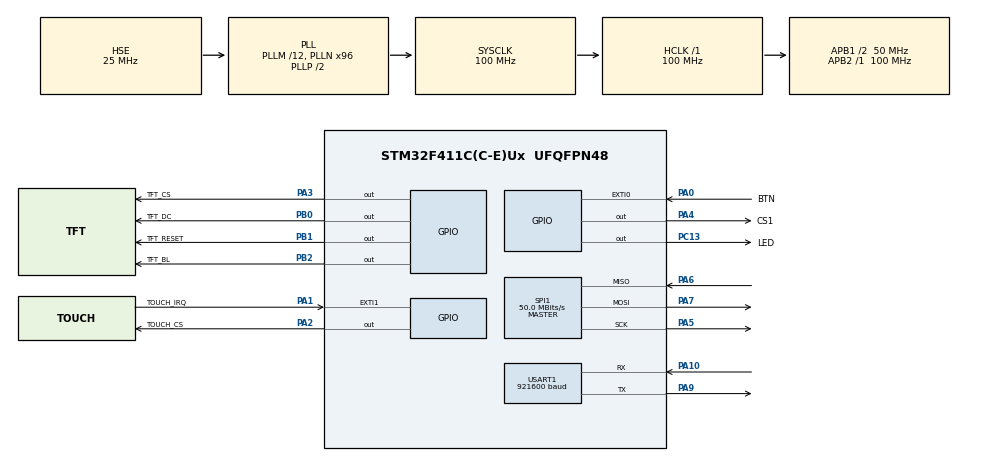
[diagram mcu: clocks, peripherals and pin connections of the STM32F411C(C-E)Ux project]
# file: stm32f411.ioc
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Dma.Request0=SPI1_TX
Dma.Request1=SPI1_RX
Dma.SPI1_RX.1.Direction=DMA_PERIPH_TO_MEMORY
Dma.SPI1_RX.1.FIFOMode=DMA_FIFOMODE_DISABLE
Dma.SPI1_RX.1.Instance=DMA2_Stream0
Dma.SPI1_RX.1.MemDataAlignment=DMA_MDATAALIGN_BYTE
Dma.SPI1_RX.1.MemInc=DMA_MINC_ENABLE
Dma.SPI1_RX.1.Mode=DMA_NORMAL
Dma.SPI1_RX.1.PeriphDataAlignment=DMA_PDATAALIGN_BYTE
Dma.SPI1_RX.1.PeriphInc=DMA_PINC_DISABLE
Dma.SPI1_RX.1.Priority=DMA_PRIORITY_LOW
Dma.SPI1_TX.0.Direction=DMA_MEMORY_TO_PERIPH
Dma.SPI1_TX.0.FIFOMode=DMA_FIFOMODE_DISABLE
Dma.SPI1_TX.0.Instance=DMA2_Stream2
Dma.SPI1_TX.0.MemDataAlignment=DMA_MDATAALIGN_BYTE
Dma.SPI1_TX.0.MemInc=DMA_MINC_ENABLE
Dma.SPI1_TX.0.Mode=DMA_NORMAL
Dma.SPI1_TX.0.PeriphDataAlignment=DMA_PDATAALIGN_BYTE
Dma.SPI1_TX.0.PeriphInc=DMA_PINC_DISABLE
Dma.SPI1_TX.0.Priority=DMA_PRIORITY_LOW
Mcu.Family=STM32F4
Mcu.Name=STM32F411C(C-E)Ux
Mcu.Package=UFQFPN48
NVIC.DMA2_Stream0_IRQn=true\:0\:0\:false\:false\:true\:false\:true\:true
NVIC.DMA2_Stream2_IRQn=true\:0\:0\:false\:false\:true\:false\:true\:true
NVIC.EXTI0_IRQn=true\:0\:0\:false\:false\:true\:true\:true\:true
NVIC.EXTI1_IRQn=true\:0\:0\:false\:false\:true\:true\:true\:true
NVIC.PriorityGroup=NVIC_PRIORITYGROUP_4
PA0-WKUP.GPIO_Label=BTN
PA0-WKUP.GPIO_ModeDefaultEXTI=GPIO_MODE_IT_RISING
PA0-WKUP.GPIO_PuPd=GPIO_PULLUP
PA0-WKUP.Signal=GPXTI0
PA1.GPIO_Label=TOUCH_IRQ
PA1.GPIO_ModeDefaultEXTI=GPIO_MODE_IT_RISING_FALLING
PA1.GPIO_PuPd=GPIO_PULLUP
PA1.Signal=GPXTI1
PA10.Mode=Asynchronous
PA10.Signal=USART1_RX
PA13.Mode=Serial_Wire
PA13.Signal=SYS_JTMS-SWDIO
PA14.Mode=Serial_Wire
PA14.Signal=SYS_JTCK-SWCLK
PA2.GPIO_Label=TOUCH_CS
PA2.PinState=GPIO_PIN_SET
PA2.Signal=GPIO_Output
PA3.GPIO_Label=TFT_CS
PA3.PinState=GPIO_PIN_SET
PA3.Signal=GPIO_Output
PA4.GPIO_Label=CS1
PA4.PinState=GPIO_PIN_SET
PA4.Signal=GPIO_Output
PA5.Mode=Full_Duplex_Master
PA5.Signal=SPI1_SCK
PA6.Mode=Full_Duplex_Master
PA6.Signal=SPI1_MISO
PA7.Mode=Full_Duplex_Master
PA7.Signal=SPI1_MOSI
PA9.Mode=Asynchronous
PA9.Signal=USART1_TX
PB0.GPIO_Label=TFT_DC
PB0.Signal=GPIO_Output
PB1.GPIO_Label=TFT_RESET
PB1.Signal=GPIO_Output
PB2.GPIO_Label=TFT_BL
PB2.PinState=GPIO_PIN_RESET
PB2.Signal=GPIO_Output
PC13-ANTI_TAMP.GPIO_Label=LED
PC13-ANTI_TAMP.GPIO_ModeDefaultOutputPP=GPIO_MODE_OUTPUT_OD
PC13-ANTI_TAMP.GPIO_PuPd=GPIO_NOPULL
PC13-ANTI_TAMP.PinState=GPIO_PIN_SET
PC13-ANTI_TAMP.Signal=GPIO_Output
PH0\ -\ OSC_IN.Mode=HSE-External-Oscillator
PH0\ -\ OSC_IN.Signal=RCC_OSC_IN
PH1\ -\ OSC_OUT.Mode=HSE-External-Oscillator
PH1\ -\ OSC_OUT.Signal=RCC_OSC_OUT
ProjectManager.HeapSize=0x200
ProjectManager.StackSize=0x400
ProjectManager.TargetToolchain=STM32CubeIDE
RCC.48MHZClocksFreq_Value=50000000
RCC.AHBFreq_Value=100000000
RCC.APB1CLKDivider=RCC_HCLK_DIV2
RCC.APB1Freq_Value=50000000
RCC.APB1TimFreq_Value=100000000
RCC.APB2Freq_Value=100000000
RCC.APB2TimFreq_Value=100000000
RCC.CortexFreq_Value=100000000
RCC.HCLKFreq_Value=100000000
RCC.HSE_VALUE=25000000
RCC.HSI_VALUE=16000000
RCC.LSE_VALUE=32768
RCC.PLLM=12
RCC.PLLN=96
RCC.PLLSourceVirtual=RCC_PLLSOURCE_HSE
RCC.SYSCLKFreq_VALUE=100000000
RCC.SYSCLKSource=RCC_SYSCLKSOURCE_PLLCLK
RCC.VCOOutputFreq_Value=200000000
SPI1.BaudRatePrescaler=SPI_BAUDRATEPRESCALER_2
SPI1.CalculateBaudRate=50.0 MBits/s
SPI1.Direction=SPI_DIRECTION_2LINES
SPI1.Mode=SPI_MODE_MASTER
SPI1.VirtualType=VM_MASTER
USART1.BaudRate=921600
USART1.VirtualMode=VM_ASYNC
board=custom

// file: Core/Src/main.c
/* USER CODE BEGIN Header */
/**
 ******************************************************************************
 * @file           : main.c
 * @brief          : Main program body
 ******************************************************************************
 * @attention
 *
 * Copyright (c) 2023 STMicroelectronics.
 * All rights reserved.
 *
 * This software is licensed under terms that can be found in the LICENSE file
 * in the root directory of this software component.
 * If no LICENSE file comes with this software, it is provided AS-IS.
 *
 ******************************************************************************
 */
/* USER CODE END Header */
#include "main.h"

/* USER CODE BEGIN Includes */
#include <stdlib.h>
#include <stdio.h>
#include <string.h>
#include "ili9341.h"
#include "ili9341_gfx.h"
/* USER CODE END Includes */

/* USER CODE BEGIN PD */
#define DEMOS 5
/* USER CODE END PD */

SPI_HandleTypeDef hspi1;
DMA_HandleTypeDef hdma_spi1_tx;
DMA_HandleTypeDef hdma_spi1_rx;

UART_HandleTypeDef huart1;

/* USER CODE BEGIN PV */

ili9341_t *_screen;

uint8_t blank = 1;
uint8_t demo = 0;

/* USER CODE END PV */

void SystemClock_Config(void);
static void MX_GPIO_Init(void);
static void MX_DMA_Init(void);
static void MX_SPI1_Init(void);
static void MX_USART1_UART_Init(void);

/* USER CODE BEGIN 0 */

void next_demo() {
    ++demo;
    if (demo >= DEMOS)
        demo = 0;
    blank = 1;
}

// Send printf to uart1
int _write(int fd, char *ptr, int len) {
    HAL_StatusTypeDef hstatus;

    if (fd == 1 || fd == 2) {
        hstatus = HAL_UART_Transmit(&huart1, (uint8_t*) ptr, len,
        HAL_MAX_DELAY);
        if (hstatus == HAL_OK)
            return len;
        else
            return -1;
    }
    return -1;
}

void HAL_GPIO_EXTI_Callback(uint16_t GPIO_Pin) {
    switch (GPIO_Pin) {
    case TOUCH_IRQ_Pin:
        //DBG("Touch");
        ili9341_touch_interrupt(_screen);
        break;

    case BTN_Pin:
        DBG("Button");
        next_demo();
        break;

    default:
        DBG("Idiot!");
        break;
    }
}

ili9341_t* screen(void) {
    return _screen;
}

void screenTouchBegin(ili9341_t *lcd, uint16_t x, uint16_t y) {
    DBG("Touch begin x = %d y = %d", x, y);
}

void screenTouchEnd(ili9341_t *lcd, uint16_t x, uint16_t y) {
    DBG("Touch end x = %d y = %d", x, y);
    next_demo();
}

/* USER CODE END 0 */

int main(void) {

    /* MCU Configuration--------------------------------------------------------*/

    /* Reset of all peripherals, Initializes the Flash interface and the Systick. */
    HAL_Init();

    /* Configure the system clock */
    SystemClock_Config();

    /* Initialize all configured peripherals */
    MX_GPIO_Init();
    MX_DMA_Init();
    MX_SPI1_Init();
    MX_USART1_UART_Init();
    /* USER CODE BEGIN 2 */

    DBG("\n\n\n--------\nStarting");

    _screen = ili9341_new(&hspi1,
    TFT_RESET_GPIO_Port, TFT_RESET_Pin,
    TFT_CS_GPIO_Port, TFT_CS_Pin,
    TFT_DC_GPIO_Port, TFT_DC_Pin, isoLandscape,
    TOUCH_CS_GPIO_Port, TOUCH_CS_Pin,
    TOUCH_IRQ_GPIO_Port, TOUCH_IRQ_Pin, itsSupported, itnNormalized);

    ili9341_set_touch_pressed_begin(_screen, screenTouchBegin);
    ili9341_set_touch_pressed_end(_screen, screenTouchEnd);

    ili9341_fill_screen(_screen, ILI_BLACK);

    HAL_GPIO_WritePin(GPIOB, TFT_DC_Pin | TFT_RESET_Pin | TFT_BL_Pin, GPIO_PIN_SET);

    /* USER CODE END 2 */

    /* Infinite loop */
    /* USER CODE BEGIN WHILE */

    uint32_t now = 0, last_blink = 0, last_demo = 0;

    int x, y, w, h, c, r;

    while (1) {

        now = HAL_GetTick();

        if (now - last_demo >= 100) {

            if (blank) {
                ili9341_fill_screen(_screen, ILI_BLACK);
                blank = 0;
            }

            switch (demo) {

            case 0:
                x = rand() % 320;
                y = rand() % 240;
                w = rand() % (320 - x);
                h = rand() % (240 - y);
                c = rand() % 0xffff;
                ili9341_draw_rect(_screen, c, x, y, w, h);
                break;

            case 1:
                x = rand() % 320;
                y = rand() % 240;
                w = rand() % (320 - x);
                h = rand() % (240 - y);
                c = rand() % 0xffff;
                ili9341_fill_rect(_screen, c, x, y, w, h);
                break;

            case 2:
//                x = (rand() % 220) + 50;
//                y = (rand() % 140) + 50;
//                r = (rand() % 50);
//                c = rand() % 0xffff;

                x = (rand() % 320);
                y = (rand() % 240);
                r = (rand() % 50);
                c = rand() % 0xffff;

                ili9341_draw_circle(_screen, c, x, y, r);

                break;

            case 3:
                x = (rand() % 320);
                y = (rand() % 240);
                r = (rand() % 50);
                c = rand() % 0xffff;

                ili9341_fill_circle(_screen, c, x, y, r);

                break;

            case 4:

                ili9341_text_attr_t attr;
                char str[64];

                attr.font = &ili9341_font_16x26;
                attr.bg_color = 0x0000;
                attr.fg_color = ILI_WHITE;
                attr.origin_x = 0;
                attr.origin_y = 0;

                sprintf(str, "Tick = %lu", now / 100);

                ili9341_draw_string(_screen, attr, str);
                break;

            default:

            }

            last_demo = now;
        }

        if (now - last_blink >= 500) {

            HAL_GPIO_TogglePin(LED_GPIO_Port, LED_Pin);

            last_blink = now;
        }

        /* USER CODE END WHILE */

    }
}

void SystemClock_Config(void) {
    RCC_OscInitTypeDef RCC_OscInitStruct = { 0 };
    RCC_ClkInitTypeDef RCC_ClkInitStruct = { 0 };

    /** Configure the main internal regulator output voltage
     */
    __HAL_RCC_PWR_CLK_ENABLE();
    __HAL_PWR_VOLTAGESCALING_CONFIG(PWR_REGULATOR_VOLTAGE_SCALE1);

    /** Initializes the RCC Oscillators according to the specified parameters
     * in the RCC_OscInitTypeDef structure.
     */
    RCC_OscInitStruct.OscillatorType = RCC_OSCILLATORTYPE_HSE;
    RCC_OscInitStruct.HSEState = RCC_HSE_ON;
    RCC_OscInitStruct.PLL.PLLState = RCC_PLL_ON;
    RCC_OscInitStruct.PLL.PLLSource = RCC_PLLSOURCE_HSE;
    RCC_OscInitStruct.PLL.PLLM = 12;
    RCC_OscInitStruct.PLL.PLLN = 96;
    RCC_OscInitStruct.PLL.PLLP = RCC_PLLP_DIV2;
    RCC_OscInitStruct.PLL.PLLQ = 4;
    if (HAL_RCC_OscConfig(&RCC_OscInitStruct) != HAL_OK) {
        Error_Handler();
    }

    /** Initializes the CPU, AHB and APB buses clocks
     */
    RCC_ClkInitStruct.ClockType = RCC_CLOCKTYPE_HCLK | RCC_CLOCKTYPE_SYSCLK | RCC_CLOCKTYPE_PCLK1 | RCC_CLOCKTYPE_PCLK2;
    RCC_ClkInitStruct.SYSCLKSource = RCC_SYSCLKSOURCE_PLLCLK;
    RCC_ClkInitStruct.AHBCLKDivider = RCC_SYSCLK_DIV1;
    RCC_ClkInitStruct.APB1CLKDivider = RCC_HCLK_DIV2;
    RCC_ClkInitStruct.APB2CLKDivider = RCC_HCLK_DIV1;

    if (HAL_RCC_ClockConfig(&RCC_ClkInitStruct, FLASH_LATENCY_3) != HAL_OK) {
        Error_Handler();
    }
}

static void MX_SPI1_Init(void) {

    /* SPI1 parameter configuration*/
    hspi1.Instance = SPI1;
    hspi1.Init.Mode = SPI_MODE_MASTER;
    hspi1.Init.Direction = SPI_DIRECTION_2LINES;
    hspi1.Init.DataSize = SPI_DATASIZE_8BIT;
    hspi1.Init.CLKPolarity = SPI_POLARITY_LOW;
    hspi1.Init.CLKPhase = SPI_PHASE_1EDGE;
    hspi1.Init.NSS = SPI_NSS_SOFT;
    hspi1.Init.BaudRatePrescaler = SPI_BAUDRATEPRESCALER_2;
    hspi1.Init.FirstBit = SPI_FIRSTBIT_MSB;
    hspi1.Init.TIMode = SPI_TIMODE_DISABLE;
    hspi1.Init.CRCCalculation = SPI_CRCCALCULATION_DISABLE;
    hspi1.Init.CRCPolynomial = 10;
    if (HAL_SPI_Init(&hspi1) != HAL_OK) {
        Error_Handler();
    }

}

static void MX_USART1_UART_Init(void) {

    huart1.Instance = USART1;
    huart1.Init.BaudRate = 921600;
    huart1.Init.WordLength = UART_WORDLENGTH_8B;
    huart1.Init.StopBits = UART_STOPBITS_1;
    huart1.Init.Parity = UART_PARITY_NONE;
    huart1.Init.Mode = UART_MODE_TX_RX;
    huart1.Init.HwFlowCtl = UART_HWCONTROL_NONE;
    huart1.Init.OverSampling = UART_OVERSAMPLING_16;
    if (HAL_UART_Init(&huart1) != HAL_OK) {
        Error_Handler();
    }

}

static void MX_DMA_Init(void) {

    /* DMA controller clock enable */
    __HAL_RCC_DMA2_CLK_ENABLE();

    /* DMA interrupt init */
    /* DMA2_Stream0_IRQn interrupt configuration */
    HAL_NVIC_SetPriority(DMA2_Stream0_IRQn, 0, 0);
    HAL_NVIC_EnableIRQ(DMA2_Stream0_IRQn);
    /* DMA2_Stream2_IRQn interrupt configuration */
    HAL_NVIC_SetPriority(DMA2_Stream2_IRQn, 0, 0);
    HAL_NVIC_EnableIRQ(DMA2_Stream2_IRQn);

}

static void MX_GPIO_Init(void) {
    GPIO_InitTypeDef GPIO_InitStruct = { 0 };

    /* GPIO Ports Clock Enable */
    __HAL_RCC_GPIOC_CLK_ENABLE();
    __HAL_RCC_GPIOH_CLK_ENABLE();
    __HAL_RCC_GPIOA_CLK_ENABLE();
    __HAL_RCC_GPIOB_CLK_ENABLE();

    /*Configure GPIO pin Output Level */
    HAL_GPIO_WritePin(LED_GPIO_Port, LED_Pin, GPIO_PIN_SET);

    /*Configure GPIO pin Output Level */
    HAL_GPIO_WritePin(GPIOA, TOUCH_CS_Pin | TFT_CS_Pin | CS1_Pin, GPIO_PIN_SET);

    /*Configure GPIO pin Output Level */
    HAL_GPIO_WritePin(GPIOB, TFT_DC_Pin | TFT_RESET_Pin | TFT_BL_Pin, GPIO_PIN_RESET);

    /*Configure GPIO pin : LED_Pin */
    GPIO_InitStruct.Pin = LED_Pin;
    GPIO_InitStruct.Mode = GPIO_MODE_OUTPUT_OD;
    GPIO_InitStruct.Pull = GPIO_NOPULL;
    GPIO_InitStruct.Speed = GPIO_SPEED_FREQ_LOW;
    HAL_GPIO_Init(LED_GPIO_Port, &GPIO_InitStruct);

    /*Configure GPIO pin : BTN_Pin */
    GPIO_InitStruct.Pin = BTN_Pin;
    GPIO_InitStruct.Mode = GPIO_MODE_IT_RISING;
    GPIO_InitStruct.Pull = GPIO_PULLUP;
    HAL_GPIO_Init(BTN_GPIO_Port, &GPIO_InitStruct);

    /*Configure GPIO pin : TOUCH_IRQ_Pin */
    GPIO_InitStruct.Pin = TOUCH_IRQ_Pin;
    GPIO_InitStruct.Mode = GPIO_MODE_IT_RISING_FALLING;
    GPIO_InitStruct.Pull = GPIO_PULLUP;
    HAL_GPIO_Init(TOUCH_IRQ_GPIO_Port, &GPIO_InitStruct);

    /*Configure GPIO pins : TOUCH_CS_Pin TFT_CS_Pin CS1_Pin */
    GPIO_InitStruct.Pin = TOUCH_CS_Pin | TFT_CS_Pin | CS1_Pin;
    GPIO_InitStruct.Mode = GPIO_MODE_OUTPUT_PP;
    GPIO_InitStruct.Pull = GPIO_NOPULL;
    GPIO_InitStruct.Speed = GPIO_SPEED_FREQ_LOW;
    HAL_GPIO_Init(GPIOA, &GPIO_InitStruct);

    /*Configure GPIO pins : TFT_DC_Pin TFT_RESET_Pin TFT_BL_Pin */
    GPIO_InitStruct.Pin = TFT_DC_Pin | TFT_RESET_Pin | TFT_BL_Pin;
    GPIO_InitStruct.Mode = GPIO_MODE_OUTPUT_PP;
    GPIO_InitStruct.Pull = GPIO_NOPULL;
    GPIO_InitStruct.Speed = GPIO_SPEED_FREQ_LOW;
    HAL_GPIO_Init(GPIOB, &GPIO_InitStruct);

    /* EXTI interrupt init*/
    HAL_NVIC_SetPriority(EXTI0_IRQn, 0, 0);
    HAL_NVIC_EnableIRQ(EXTI0_IRQn);

    HAL_NVIC_SetPriority(EXTI1_IRQn, 0, 0);
    HAL_NVIC_EnableIRQ(EXTI1_IRQn);

}

void Error_Handler(void) {
    __disable_irq();
    while (1) {
    }
}
